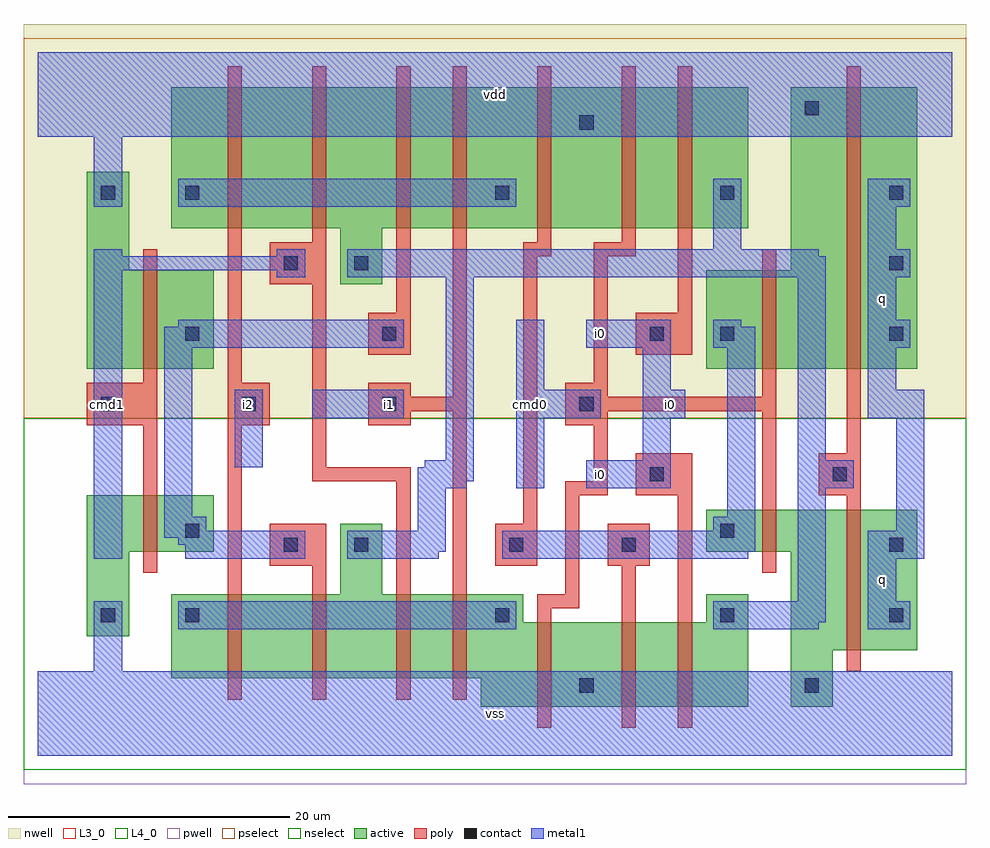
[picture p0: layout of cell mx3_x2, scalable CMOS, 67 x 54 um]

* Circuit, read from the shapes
.subckt mx3_x2 cmd0 cmd1 i0 i1 i2 q vdd vss
M1 n1 cmd1 vss VSUBS nfet w=4u l=1u
M2 n2 i2 n3 VSUBS nfet w=6u l=1u
M3 n4 n1 n2 VSUBS nfet w=6u l=1u
M4 n5 cmd1 n4 VSUBS nfet w=6u l=1u
M5 n3 i1 n5 VSUBS nfet w=6u l=1u
M6 vss cmd0 n3 VSUBS nfet w=6u l=1u
M7 n6 n7 vss VSUBS nfet w=6u l=1u
M8 n4 i0 n6 VSUBS nfet w=6u l=1u
M9 vss cmd0 n7 VSUBS nfet w=3u l=1u
M10 q n4 vss VSUBS nfet w=10u l=1u
M11 n1 cmd1 vdd n8 pfet w=7u l=1u
M12 n9 i2 n10 n8 pfet w=10u l=1u
M13 n4 cmd1 n9 n8 pfet w=10u l=1u
M14 n11 n1 n4 n8 pfet w=10u l=1u
M15 n10 i1 n11 n8 pfet w=10u l=1u
M16 vdd n7 n10 n8 pfet w=10u l=1u
M17 n12 cmd0 vdd n8 pfet w=10u l=1u
M18 n4 i0 n12 n8 pfet w=10u l=1u
M19 vdd cmd0 n7 n8 pfet w=7u l=1u
M20 q n4 vdd n8 pfet w=20u l=1u
.ends

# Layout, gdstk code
import gdstk
lib = gdstk.Library(unit=1e-6, precision=1e-09)
def R(c, l, rs):  # rectangles x0, y0, x1, y1
    for r in rs: c.add(gdstk.rectangle(r[:2], r[2:], *l))
def A(c, l, x, y, w, h, nx, ny, dx, dy):  # array of equal rectangles
    R(c, l, [(x+i*dx, y+j*dy, x+i*dx+w, y+j*dy+h) for i in range(nx) for j in range(ny)])
L3_0 = (3, 0)
L4_0 = (4, 0)
contact = (25, 0)
pwell = (41, 0)
nwell = (42, 0)
active = (43, 0)
pselect = (44, 0)
nselect = (45, 0)
poly = (46, 0)
metal1 = (49, 0)

mx3_x2 = lib.new_cell('mx3_x2')
R(mx3_x2, L3_0, [(31.5,3.5,50.5,5.5), (53.5,3.5,56.5,7.5), (9.5,5.5,50.5,9.5), (53.5,7.5,62.5,14.5), (3.5,8.5,6.5,14.5), (9.5,9.5,34.5,11.5), (47.5,9.5,50.5,11.5), (21.5,11.5,24.5,16.5), (3.5,14.5,12.5,18.5), (47.5,14.5,62.5,17.5)])
R(mx3_x2, L4_0, [(3.5,27.5,12.5,34.5), (47.5,27.5,62.5,34.5), (21.5,33.5,24.5,37.5), (3.5,34.5,6.5,41.5), (53.5,34.5,62.5,47.5), (9.5,37.5,50.5,47.5)])
A(mx3_x2, contact, 38.5, 4.5, 1, 1, 1, 3, 0, 20)
A(mx3_x2, contact, 4.5, 24.5, 1, 1, 3, 1, 10, 0)
A(mx3_x2, contact, 60.5, 29.5, 1, 1, 1, 3, 0, 5)
R(mx3_x2, contact, [(54.5,4.5,55.5,5.5), (4.5,9.5,5.5,10.5), (10.5,9.5,11.5,10.5), (32.5,9.5,33.5,10.5), (48.5,9.5,49.5,10.5), (60.5,9.5,61.5,10.5), (17.5,14.5,18.5,15.5), (22.5,14.5,23.5,15.5), (33.5,14.5,34.5,15.5), (41.5,14.5,42.5,15.5), (60.5,14.5,61.5,15.5), (10.5,15.5,11.5,16.5), (48.5,15.5,49.5,16.5), (43.5,19.5,44.5,20.5), (56.5,19.5,57.5,20.5), (10.5,29.5,11.5,30.5), (24.5,29.5,25.5,30.5), (43.5,29.5,44.5,30.5), (48.5,29.5,49.5,30.5), (17.5,34.5,18.5,35.5), (22.5,34.5,23.5,35.5), (4.5,39.5,5.5,40.5), (10.5,39.5,11.5,40.5), (32.5,39.5,33.5,40.5), (48.5,39.5,49.5,40.5), (54.5,45.5,55.5,46.5)])
R(mx3_x2, pwell, [(-1,-2,66,24)])
R(mx3_x2, nwell, [(-1,24,66,52)])
R(mx3_x2, active, [(31.5,3.5,50.5,5.5), (53.5,3.5,56.5,7.5), (9.5,5.5,50.5,9.5), (53.5,7.5,62.5,14.5), (3.5,8.5,6.5,14.5), (9.5,9.5,34.5,11.5), (47.5,9.5,50.5,11.5), (21.5,11.5,24.5,16.5), (3.5,14.5,12.5,18.5), (47.5,14.5,62.5,17.5), (3.5,27.5,12.5,34.5), (47.5,27.5,62.5,34.5), (21.5,33.5,24.5,37.5), (3.5,34.5,6.5,41.5), (53.5,34.5,62.5,47.5), (9.5,37.5,50.5,47.5)])
R(mx3_x2, pselect, [(-1,24,66,51)])
R(mx3_x2, nselect, [(-1,-1,66,24)])
R(mx3_x2, poly, [(35.5,2,36.5,10.5), (41.5,2,42.5,13.5), (45.5,2,46.5,18.5), (13.5,4,14.5,23.5), (19.5,4,20.5,13.5), (25.5,4,26.5,19.5), (29.5,4,30.5,24.5), (57.5,6,58.5,18.5), (35.5,10.5,38.5,11.5), (37.5,11.5,38.5,18.5), (7.5,13,8.5,23.5), (51.5,13,52.5,24.5), (16.5,13.5,20.5,16.5), (32.5,13.5,35.5,16.5), (40.5,13.5,43.5,16.5), (34.5,16.5,35.5,35.5), (37.5,18.5,40.5,19.5), (42.5,18.5,46.5,21.5), (55.5,18.5,58.5,21.5), (19.5,19.5,26.5,20.5), (39.5,19.5,40.5,23.5), (19.5,20.5,20.5,33.5), (57.5,21.5,58.5,49), (3.5,23.5,8.5,26.5), (13.5,23.5,16.5,26.5), (23.5,23.5,26.5,24.5), (37.5,23.5,40.5,24.5), (23.5,24.5,30.5,25.5), (37.5,24.5,52.5,25.5), (23.5,25.5,26.5,26.5), (29.5,25.5,30.5,49), (37.5,25.5,40.5,26.5), (51.5,25.5,52.5,36), (7.5,26.5,8.5,36), (13.5,26.5,14.5,49), (39.5,26.5,40.5,35.5), (23.5,28.5,26.5,31.5), (42.5,28.5,46.5,31.5), (25.5,31.5,26.5,49), (45.5,31.5,46.5,49), (16.5,33.5,20.5,36.5), (34.5,35.5,36.5,36.5), (39.5,35.5,42.5,36.5), (19.5,36.5,20.5,49), (35.5,36.5,36.5,49), (41.5,36.5,42.5,49)])
A(mx3_x2, metal1, 59, 26, 2, 3, 1, 3, 0, 5)
A(mx3_x2, metal1, 59, 29, 3, 2, 1, 3, 0, 5)
R(mx3_x2, metal1, [(0,0,65,6), (4,6,6,11), (10,9,34,11), (48,9,55.5,9.5), (59,9,62,11), (48,9.5,56,11), (54,11,56,19), (59,11,61,14), (4,14,6,34.5), (10.5,14,19,15), (22,14,28.5,14.5), (33,14,50.5,14.5), (59,14,63,16), (22,14.5,29,16), (33,14.5,51,16), (10,15,19,15.5), (9,15.5,19,16), (9,16,12,17), (27,16,29,19), (48,16,51,17), (61,16,63,24), (9,17,11,29), (49,17,51,29), (27,19,30.5,19.5), (34,19,36,24), (39,19,45,21), (54,19,58,21), (27,19.5,31,20.5), (14,20.5,16,26), (27.5,20.5,31,21), (29,21,31,34), (43,21,45,24), (54,21,56,34), (19.5,24,26,26), (34,24,40,26), (43,24,46,26), (59,24,63,26), (34,26,36,31), (43,26,45,29), (9,29,26,30.5), (39,29,45,31), (48,29,51,30.5), (10,30.5,26,31), (48,30.5,50,31), (17,34,19,34.5), (22,34,56,35.5), (4,34.5,19,35.5), (4,35.5,6,36), (17,35.5,19,36), (22,35.5,55.5,36), (48,36,50,41), (4,39,6,44), (10,39,34,41), (0,44,65,50)])
mx3_x2.add(gdstk.Label('cmd1', (5,25), layer=49, texttype=0))
mx3_x2.add(gdstk.Label('i2', (15,25), layer=49, texttype=0))
mx3_x2.add(gdstk.Label('vss', (32.5,3), layer=49, texttype=0))
mx3_x2.add(gdstk.Label('i1', (25,25), layer=49, texttype=0))
mx3_x2.add(gdstk.Label('cmd0', (35,25), layer=49, texttype=0))
mx3_x2.add(gdstk.Label('vdd', (32.5,47), layer=49, texttype=0))
mx3_x2.add(gdstk.Label('i0', (40,20), layer=49, texttype=0))
mx3_x2.add(gdstk.Label('i0', (45,25), layer=49, texttype=0))
mx3_x2.add(gdstk.Label('i0', (40,30), layer=49, texttype=0))
mx3_x2.add(gdstk.Label('q', (60,12.5), layer=49, texttype=0))
mx3_x2.add(gdstk.Label('q', (60,32.5), layer=49, texttype=0))

lib.write_gds('mx3_x2.gds')
